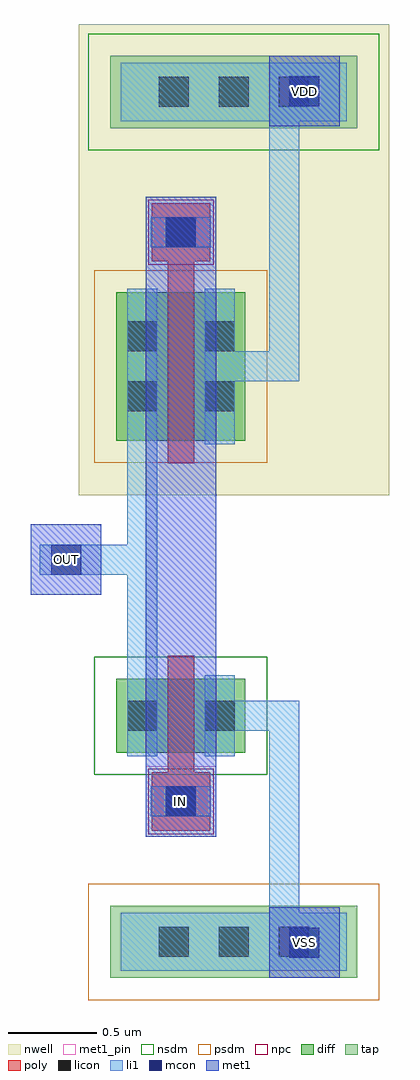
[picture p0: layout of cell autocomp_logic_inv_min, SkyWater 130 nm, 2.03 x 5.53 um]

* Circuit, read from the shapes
.subckt autocomp_logic_inv_min IN OUT VDD VSS
XM1 VSS IN OUT VSS sky130_fd_pr__nfet_01v8 w=0.42 l=0.15
XM2 VDD IN OUT VDD sky130_fd_pr__pfet_01v8 w=0.84 l=0.15
.ends

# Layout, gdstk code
import gdstk
lib = gdstk.Library(unit=1e-6, precision=1e-09)
def R(c, l, rs):  # rectangles x0, y0, x1, y1
    for r in rs: c.add(gdstk.rectangle(r[:2], r[2:], *l))
def A(c, l, x, y, w, h, nx, ny, dx, dy):  # array of equal rectangles
    R(c, l, [(x+i*dx, y+j*dy, x+i*dx+w, y+j*dy+h) for i in range(nx) for j in range(ny)])
nwell = (64, 20)
diff = (65, 20)
tap = (65, 44)
poly = (66, 20)
licon = (66, 44)
li1 = (67, 20)
mcon = (67, 44)
met1_pin = (68, 16)
met1 = (68, 20)
nsdm = (93, 44)
psdm = (94, 20)
npc = (95, 20)

autocomp_sky130_fd_pr__p = lib.new_cell('autocomp_sky130_fd_pr__pfet_01v8_YQUXBD')
R(autocomp_sky130_fd_pr__p, nwell, [(-0.545,-0.92,0.545,0.75)])
R(autocomp_sky130_fd_pr__p, diff, [(-0.365,-0.61,0.365,0.23)])
R(autocomp_sky130_fd_pr__p, poly, [(-0.075,-0.74,0.075,0.405), (-0.165,0.405,0.165,0.735)])
R(autocomp_sky130_fd_pr__p, licon, [(-0.305,-0.445,-0.135,-0.275), (0.135,-0.445,0.305,-0.275), (-0.305,-0.105,-0.135,0.065), (0.135,-0.105,0.305,0.065), (-0.085,0.485,0.085,0.655)])
R(autocomp_sky130_fd_pr__p, li1, [(-0.305,-0.63,-0.135,0.25), (0.135,-0.63,0.305,0.25), (-0.165,0.485,0.165,0.655)])
R(autocomp_sky130_fd_pr__p, psdm, [(-0.49,-0.735,0.49,0.355)])
R(autocomp_sky130_fd_pr__p, npc, [(-0.185,0.385,0.185,0.755)])

autocomp_sky130_fd_pr__n = lib.new_cell('autocomp_sky130_fd_pr__nfet_01v8_A6N89R')
R(autocomp_sky130_fd_pr__n, diff, [(-0.365,-0.055,0.365,0.365)])
R(autocomp_sky130_fd_pr__n, poly, [(-0.165,-0.495,0.165,-0.165), (-0.075,-0.165,0.075,0.495)])
R(autocomp_sky130_fd_pr__n, licon, [(-0.085,-0.415,0.085,-0.245), (-0.305,0.07,-0.135,0.24), (0.135,0.07,0.305,0.24)])
R(autocomp_sky130_fd_pr__n, li1, [(-0.165,-0.415,0.165,-0.245), (-0.305,-0.075,-0.135,0.385), (0.135,-0.075,0.305,0.385)])
R(autocomp_sky130_fd_pr__n, nsdm, [(-0.49,-0.18,0.49,0.49)])
R(autocomp_sky130_fd_pr__n, npc, [(-0.185,-0.515,0.185,-0.145)])

autocomp_logic_inv_min = lib.new_cell('autocomp_logic_inv_min')
R(autocomp_logic_inv_min, nwell, [(0.42,2.705,2.18,5.375)])
R(autocomp_logic_inv_min, tap, [(0.6,-0.03,2,0.38), (0.6,4.785,2,5.195)])
A(autocomp_logic_inv_min, licon, 0.875, 0.09, 0.17, 0.17, 3, 2, 0.34, 4.815)
R(autocomp_logic_inv_min, li1, [(0.66,0.01,1.94,0.34), (1.5,0.34,1.67,1.37), (0.83,0.885,1.17,1.055), (0.695,1.305,0.865,2.255), (1.135,1.37,1.67,1.54), (0.2,2.255,0.865,2.425), (0.695,2.425,0.865,3.795), (1.135,3.35,1.67,3.52), (1.5,3.52,1.67,4.825), (0.83,4.11,1.17,4.28), (0.66,4.825,1.94,5.155)])
R(autocomp_logic_inv_min, mcon, [(1.615,0.085,1.785,0.255), (0.915,0.885,1.085,1.055), (0.265,2.255,0.435,2.425), (0.915,4.11,1.085,4.28), (1.615,4.91,1.785,5.08)])
R(autocomp_logic_inv_min, met1_pin, [(1.5,-0.03,1.9,0.37), (0.8,0.77,1.2,1.17), (0.15,2.14,0.55,2.54), (1.5,4.795,1.9,5.195)])
R(autocomp_logic_inv_min, met1, [(1.5,-0.03,1.9,0.37), (0.8,0.77,1.2,4.395), (0.15,2.14,0.55,2.54), (1.5,4.795,1.9,5.195)])
R(autocomp_logic_inv_min, nsdm, [(0.475,4.66,2.125,5.32)])
R(autocomp_logic_inv_min, psdm, [(0.475,-0.155,2.125,0.505)])
autocomp_logic_inv_min.add(gdstk.Reference(autocomp_sky130_fd_pr__p, (1,3.625)))
autocomp_logic_inv_min.add(gdstk.Reference(autocomp_sky130_fd_pr__n, (1,1.3)))
autocomp_logic_inv_min.add(gdstk.Label('VSS', (1.7,0.17), layer=68, texttype=5))
autocomp_logic_inv_min.add(gdstk.Label('VDD', (1.7,4.995), layer=68, texttype=5))
autocomp_logic_inv_min.add(gdstk.Label('OUT', (0.35,2.34), layer=68, texttype=5))
autocomp_logic_inv_min.add(gdstk.Label('IN', (1,0.97), layer=68, texttype=5))

lib.write_gds('autocomp_logic_inv_min.gds')
